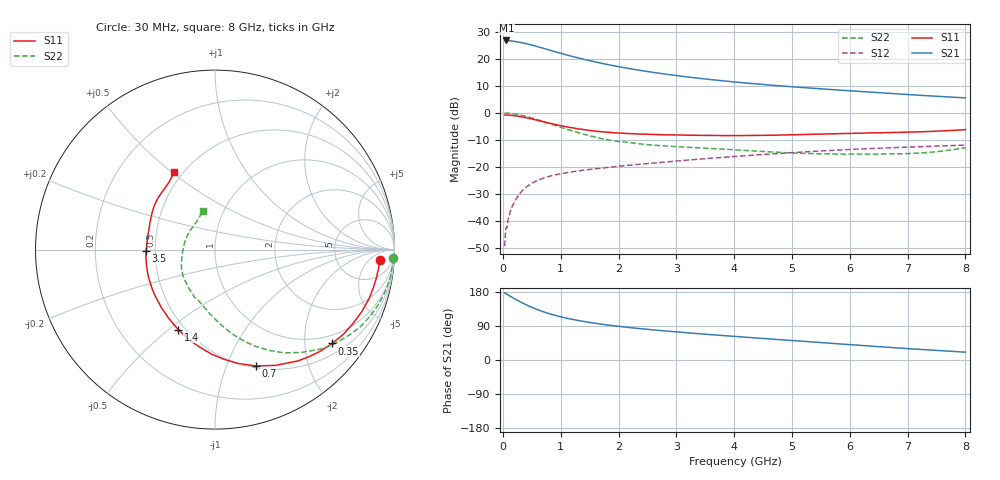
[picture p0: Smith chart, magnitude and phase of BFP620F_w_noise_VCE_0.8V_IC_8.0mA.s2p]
! Infineon Technologies  Discrete & RF Semiconductors
! BFP620F
! VCE =  0.8 V,  IC =  8.0 mA
! Common Emitter S-Parameters:  Dec 2014
# GHz  S  MA  R  50
!  f  S11  S21  S12  S22
! GHz  MAG  ANG  MAG  ANG  MAG  ANG  MAG  ANG
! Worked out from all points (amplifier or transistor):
!   95 points, 30 MHz to 8 GHz, reference 50 ohm
!   highest |S21| = 26.9 dB at 60 MHz (marker M1)
!   |S21| within 3 dB of that: start of sweep to 715.1 MHz
!   unconditionally stable (mu >= 1): 4.366 GHz to end of sweep
!   at 300 MHz: K = 0.13, MSG = 27.9 dB, |S12| = -29.7 dB
!   at 3.3 GHz: K = 0.93, MSG = 15.2 dB, |S12| = -17.3 dB
!   at 8 GHz: K = 1.10, MAG = 6.8 dB, |S12| = -11.9 dB
!   lowest NFmin = 0.56 dB at 450 MHz
!   S11 on the Smith chart (normalised r, x): 30 MHz: 16, -11; 350 MHz: 0.76, -2.65; 700 MHz: 0.52, -1.28; 1.4 GHz: 0.46, -0.54; 3.5 GHz: 0.45, -0.01; 8 GHz: 0.45, +0.51
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0.03  0.9183 -3.5  21.96 177.0  0.0034 88.5  0.9931 -2.8
0.06  0.9168 -7.0  22.02 174.4  0.0076 89.1  0.9918 -5.6
0.13  0.9041 -15.0  21.71 167.9  0.0153 82.6  0.981 -12.3
0.2  0.8882 -22.8  21.16 161.8  0.0224 77.7  0.9597 -18.8
0.25  0.8719 -28.3  20.76 157.5  0.0276 75.3  0.9404 -23.2
0.35  0.8361 -38.7  19.69 149.7  0.0375 70.3  0.8929 -31.7
0.4  0.8154 -44.0  19.27 145.9  0.0419 67.8  0.8638 -35.7
0.5  0.7735 -53.3  18.05 139.2  0.0497 63.2  0.8081 -43.3
0.6  0.7278 -62.4  16.91 132.8  0.0562 59.8  0.7478 -50.0
0.7  0.6877 -70.6  15.76 127.3  0.0619 56.5  0.6916 -56.3
0.8  0.648 -78.4  14.67 122.3  0.0667 54.1  0.638 -61.7
1  0.5824 -92.0  12.75 114.1  0.0746 50.1  0.5432 -71.5
1.2  0.5298 -104.1  11.16 107.3  0.0812 47.7  0.4666 -79.8
1.4  0.4908 -114.7  9.867 101.7  0.087 46.0  0.4041 -87.6
1.7  0.4482 -128.6  8.345 94.6  0.0948 44.4  0.336 -98.6
2  0.4242 -140.3  7.208 88.9  0.1026 43.4  0.2943 -109.2
2.7  0.3966 -161.3  5.446 78.1  0.1205 41.5  0.2486 -129.1
3.5  0.3837 -178.6  4.261 68.1  0.1421 39.4  0.2221 -145.5
4.1  0.3813 170.3  3.673 61.2  0.1585 37.2  0.2045 -156.1
5.4  0.4031 151.3  2.848 47.1  0.1948 30.9  0.1762 175.7
6.7  0.4333 134.1  2.301 33.2  0.226 22.9  0.1742 144.0
8  0.4902 117.7  1.899 20.6  0.2534 14.9  0.2267 107.2
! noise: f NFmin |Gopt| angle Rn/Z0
0.45  0.56  0.34  9  0.24
0.9  0.63  0.3  19  0.21
1.5  0.69  0.28  22  0.17
1.8  0.72  0.26  25  0.16
1.9  0.73  0.21  39  0.18
2.4  0.78  0.19  54  0.16
3.5  0.89  0.18  74  0.13
5.5  1.07  0.13  168  0.11
6  1.11  0.1  192  0.19
